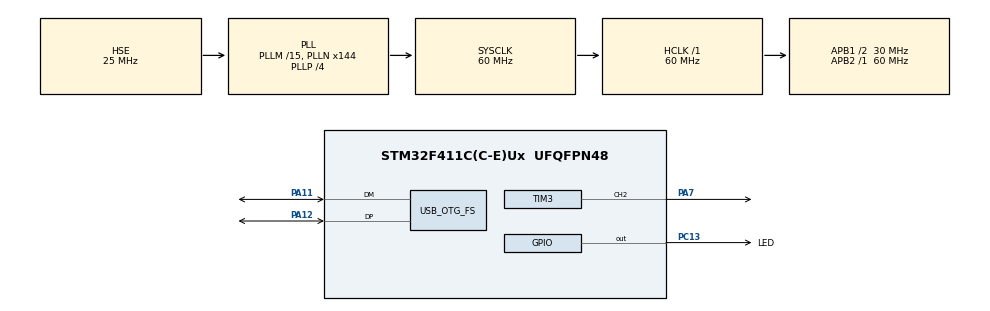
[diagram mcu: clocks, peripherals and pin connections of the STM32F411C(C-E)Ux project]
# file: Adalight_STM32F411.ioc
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Dma.Request0=TIM3_CH2
Dma.TIM3_CH2.0.Direction=DMA_MEMORY_TO_PERIPH
Dma.TIM3_CH2.0.FIFOMode=DMA_FIFOMODE_DISABLE
Dma.TIM3_CH2.0.Instance=DMA1_Stream5
Dma.TIM3_CH2.0.MemDataAlignment=DMA_MDATAALIGN_WORD
Dma.TIM3_CH2.0.MemInc=DMA_MINC_ENABLE
Dma.TIM3_CH2.0.Mode=DMA_NORMAL
Dma.TIM3_CH2.0.PeriphDataAlignment=DMA_PDATAALIGN_WORD
Dma.TIM3_CH2.0.PeriphInc=DMA_PINC_DISABLE
Dma.TIM3_CH2.0.Priority=DMA_PRIORITY_MEDIUM
Mcu.Family=STM32F4
Mcu.Name=STM32F411C(C-E)Ux
Mcu.Package=UFQFPN48
NVIC.DMA1_Stream5_IRQn=true\:0\:0\:false\:false\:true\:false\:true\:true
NVIC.OTG_FS_IRQn=true\:0\:0\:false\:false\:true\:false\:true\:true
NVIC.PriorityGroup=NVIC_PRIORITYGROUP_4
PA11.Mode=Device_Only
PA11.Signal=USB_OTG_FS_DM
PA12.Mode=Device_Only
PA12.Signal=USB_OTG_FS_DP
PA7.Signal=S_TIM3_CH2
PC13-ANTI_TAMP.GPIO_Label=LED
PC13-ANTI_TAMP.Signal=GPIO_Output
PC14-OSC32_IN.Mode=LSE-External-Oscillator
PC14-OSC32_IN.Signal=RCC_OSC32_IN
PC15-OSC32_OUT.Mode=LSE-External-Oscillator
PC15-OSC32_OUT.Signal=RCC_OSC32_OUT
PH0\ -\ OSC_IN.Mode=HSE-External-Oscillator
PH0\ -\ OSC_IN.Signal=RCC_OSC_IN
PH1\ -\ OSC_OUT.Mode=HSE-External-Oscillator
PH1\ -\ OSC_OUT.Signal=RCC_OSC_OUT
ProjectManager.HeapSize=0x200
ProjectManager.StackSize=0x400
ProjectManager.TargetToolchain=STM32CubeIDE
RCC.48MHZClocksFreq_Value=48000000
RCC.AHBFreq_Value=60000000
RCC.APB1CLKDivider=RCC_HCLK_DIV2
RCC.APB1Freq_Value=30000000
RCC.APB1TimFreq_Value=60000000
RCC.APB2Freq_Value=60000000
RCC.APB2TimFreq_Value=60000000
RCC.CortexFreq_Value=60000000
RCC.HCLKFreq_Value=60000000
RCC.HSE_VALUE=25000000
RCC.HSI_VALUE=16000000
RCC.PLLM=15
RCC.PLLN=144
RCC.PLLP=RCC_PLLP_DIV4
RCC.PLLQ=5
RCC.SYSCLKFreq_VALUE=60000000
RCC.SYSCLKSource=RCC_SYSCLKSOURCE_PLLCLK
RCC.VCOOutputFreq_Value=240000000
SH.S_TIM3_CH2.0=TIM3_CH2,PWM Generation2 CH2
TIM3.AutoReloadPreload=TIM_AUTORELOAD_PRELOAD_ENABLE
TIM3.Channel-PWM\ Generation2\ CH2=TIM_CHANNEL_2
TIM3.OCMode_PWM-PWM\ Generation2\ CH2=TIM_OCMODE_PWM1
TIM3.Period=3-1
TIM3.Prescaler=25-1
TIM3.Pulse-PWM\ Generation2\ CH2=0
USB_DEVICE.APP_TX_DATA_SIZE=512
USB_DEVICE.CLASS_NAME_FS=CDC
USB_DEVICE.VirtualMode=Cdc
USB_DEVICE.VirtualModeFS=Cdc_FS
USB_OTG_FS.VirtualMode=Device_Only
VP_USB_DEVICE_VS_USB_DEVICE_CDC_FS.Mode=CDC_FS
board=custom

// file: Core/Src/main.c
/* USER CODE BEGIN Header */
/**
  ******************************************************************************
  * @file           : main.c
  * @brief          : Main program body
  ******************************************************************************
  * @attention
  *
  * Copyright (c) 2024 STMicroelectronics.
  * All rights reserved.
  *
  * This software is licensed under terms that can be found in the LICENSE file
  * in the root directory of this software component.
  * If no LICENSE file comes with this software, it is provided AS-IS.
  *
  ******************************************************************************
  */
/* USER CODE END Header */
#include "main.h"
#include "usb_device.h"

/* USER CODE BEGIN Includes */
#include "usbd_cdc_if.h"
#include "Ada.h"
#include "WS2812.h"
/* USER CODE END Includes */

/* USER CODE BEGIN PD */
#define RX_USB_DATA_SIZE 4096
#define TX_USB_DATA_SIZE 512
/* USER CODE END PD */

TIM_HandleTypeDef htim3;
DMA_HandleTypeDef hdma_tim3_ch2;

/* USER CODE BEGIN PV */
uint8_t MainUsbRxBuffer[RX_USB_DATA_SIZE],
		MainUsbTxBuffer[TX_USB_DATA_SIZE] = "Ada\n";

uint32_t PwmValue[LED_BITS_NUM]; // Buffer for TIM3 DMA; +50 for RET code (62.5 us)

uint32_t RxBufferSize = 0;

struct RGB_LED LED_data[LED_NUM];

/* USER CODE END PV */

void SystemClock_Config(void);
static void MX_GPIO_Init(void);
static void MX_DMA_Init(void);
static void MX_TIM3_Init(void);

int main(void)
{

  /* MCU Configuration--------------------------------------------------------*/

  /* Reset of all peripherals, Initializes the Flash interface and the Systick. */
  HAL_Init();

  /* Configure the system clock */
  SystemClock_Config();

  /* Initialize all configured peripherals */
  MX_GPIO_Init();
  MX_DMA_Init();
  MX_TIM3_Init();
  MX_USB_DEVICE_Init();

  /* Infinite loop */
  /* USER CODE BEGIN WHILE */

  for(uint32_t i=0; i<LED_BITS_NUM; i ++) // Test strip and bus
	PwmValue[i] = i % 4;

  while (1)
  {
    /* USER CODE END WHILE */

    /* USER CODE BEGIN 3 */

	if(RxBufferSize >= EXP_ADA_SIZE){
#ifdef LED_TEST
		HAL_GPIO_WritePin(LED_GPIO_Port, LED_Pin, GPIO_PIN_SET);
#endif
		// protocol ada processing
		uint32_t trim_index = Processing_rx_buffer(&MainUsbRxBuffer[0], RxBufferSize, &LED_data[0]);

		uint32_t shift_index = 0;

		HAL_TIM_PWM_Stop_DMA(&htim3, TIM_CHANNEL_2);
		ConvertColorToTim(&LED_data[0], &PwmValue[0]);
		HAL_TIM_PWM_Start_DMA(&htim3, TIM_CHANNEL_2, &PwmValue[0], LED_BITS_NUM);

		while(trim_index < RxBufferSize){ // Shift all buffer closer to the beginning
			MainUsbRxBuffer[shift_index] = MainUsbRxBuffer[trim_index];
			shift_index ++;
			trim_index ++;
		}

		RxBufferSize = shift_index; // Save new size
	}
#ifdef LED_TEST
	if (TIM_CHANNEL_STATE_GET(&htim3, TIM_CHANNEL_2) == HAL_TIM_CHANNEL_STATE_READY)
		HAL_GPIO_WritePin(LED_GPIO_Port, LED_Pin, GPIO_PIN_RESET);
#endif
  }
  /* USER CODE END 3 */
}

void SystemClock_Config(void)
{
  RCC_OscInitTypeDef RCC_OscInitStruct = {0};
  RCC_ClkInitTypeDef RCC_ClkInitStruct = {0};

  /** Configure the main internal regulator output voltage
  */
  __HAL_RCC_PWR_CLK_ENABLE();
  __HAL_PWR_VOLTAGESCALING_CONFIG(PWR_REGULATOR_VOLTAGE_SCALE1);

  /** Initializes the RCC Oscillators according to the specified parameters
  * in the RCC_OscInitTypeDef structure.
  */
  RCC_OscInitStruct.OscillatorType = RCC_OSCILLATORTYPE_HSE;
  RCC_OscInitStruct.HSEState = RCC_HSE_ON;
  RCC_OscInitStruct.PLL.PLLState = RCC_PLL_ON;
  RCC_OscInitStruct.PLL.PLLSource = RCC_PLLSOURCE_HSE;
  RCC_OscInitStruct.PLL.PLLM = 15;
  RCC_OscInitStruct.PLL.PLLN = 144;
  RCC_OscInitStruct.PLL.PLLP = RCC_PLLP_DIV4;
  RCC_OscInitStruct.PLL.PLLQ = 5;
  if (HAL_RCC_OscConfig(&RCC_OscInitStruct) != HAL_OK)
  {
    Error_Handler();
  }

  /** Initializes the CPU, AHB and APB buses clocks
  */
  RCC_ClkInitStruct.ClockType = RCC_CLOCKTYPE_HCLK|RCC_CLOCKTYPE_SYSCLK
                              |RCC_CLOCKTYPE_PCLK1|RCC_CLOCKTYPE_PCLK2;
  RCC_ClkInitStruct.SYSCLKSource = RCC_SYSCLKSOURCE_PLLCLK;
  RCC_ClkInitStruct.AHBCLKDivider = RCC_SYSCLK_DIV1;
  RCC_ClkInitStruct.APB1CLKDivider = RCC_HCLK_DIV2;
  RCC_ClkInitStruct.APB2CLKDivider = RCC_HCLK_DIV1;

  if (HAL_RCC_ClockConfig(&RCC_ClkInitStruct, FLASH_LATENCY_1) != HAL_OK)
  {
    Error_Handler();
  }
}

static void MX_TIM3_Init(void)
{

  TIM_MasterConfigTypeDef sMasterConfig = {0};
  TIM_OC_InitTypeDef sConfigOC = {0};

  htim3.Instance = TIM3;
  htim3.Init.Prescaler = 25-1;
  htim3.Init.CounterMode = TIM_COUNTERMODE_UP;
  htim3.Init.Period = 3-1;
  htim3.Init.ClockDivision = TIM_CLOCKDIVISION_DIV1;
  htim3.Init.AutoReloadPreload = TIM_AUTORELOAD_PRELOAD_ENABLE;
  if (HAL_TIM_PWM_Init(&htim3) != HAL_OK)
  {
    Error_Handler();
  }
  sMasterConfig.MasterOutputTrigger = TIM_TRGO_RESET;
  sMasterConfig.MasterSlaveMode = TIM_MASTERSLAVEMODE_DISABLE;
  if (HAL_TIMEx_MasterConfigSynchronization(&htim3, &sMasterConfig) != HAL_OK)
  {
    Error_Handler();
  }
  sConfigOC.OCMode = TIM_OCMODE_PWM1;
  sConfigOC.Pulse = 0;
  sConfigOC.OCPolarity = TIM_OCPOLARITY_HIGH;
  sConfigOC.OCFastMode = TIM_OCFAST_DISABLE;
  if (HAL_TIM_PWM_ConfigChannel(&htim3, &sConfigOC, TIM_CHANNEL_2) != HAL_OK)
  {
    Error_Handler();
  }
  HAL_TIM_MspPostInit(&htim3);

}

static void MX_DMA_Init(void)
{

  /* DMA controller clock enable */
  __HAL_RCC_DMA1_CLK_ENABLE();

  /* DMA interrupt init */
  /* DMA1_Stream5_IRQn interrupt configuration */
  HAL_NVIC_SetPriority(DMA1_Stream5_IRQn, 0, 0);
  HAL_NVIC_EnableIRQ(DMA1_Stream5_IRQn);

}

static void MX_GPIO_Init(void)
{
  GPIO_InitTypeDef GPIO_InitStruct = {0};
/* USER CODE BEGIN MX_GPIO_Init_1 */
#if !defined(LED_TEST)
  return;
#endif
/* USER CODE END MX_GPIO_Init_1 */

  /* GPIO Ports Clock Enable */
  __HAL_RCC_GPIOC_CLK_ENABLE();
  __HAL_RCC_GPIOH_CLK_ENABLE();
  __HAL_RCC_GPIOA_CLK_ENABLE();

  /*Configure GPIO pin Output Level */
  HAL_GPIO_WritePin(LED_GPIO_Port, LED_Pin, GPIO_PIN_RESET);

  /*Configure GPIO pin : LED_Pin */
  GPIO_InitStruct.Pin = LED_Pin;
  GPIO_InitStruct.Mode = GPIO_MODE_OUTPUT_PP;
  GPIO_InitStruct.Pull = GPIO_NOPULL;
  GPIO_InitStruct.Speed = GPIO_SPEED_FREQ_LOW;
  HAL_GPIO_Init(LED_GPIO_Port, &GPIO_InitStruct);

}

/* USER CODE BEGIN 4 */

void CDC_Receive_Callback(uint8_t* Buf, uint32_t *Len)
{
	if(RxBufferSize + *Len >= RX_USB_DATA_SIZE)
		*Len = RX_USB_DATA_SIZE - RxBufferSize; // Erase overflow data

	if(*Len != 0)
	{
		memcpy(&MainUsbRxBuffer[RxBufferSize], Buf, *Len);
		RxBufferSize += *Len;
	}
}

/* USER CODE END 4 */

void Error_Handler(void)
{
  __disable_irq();
  while (1)
  {
  }
}
